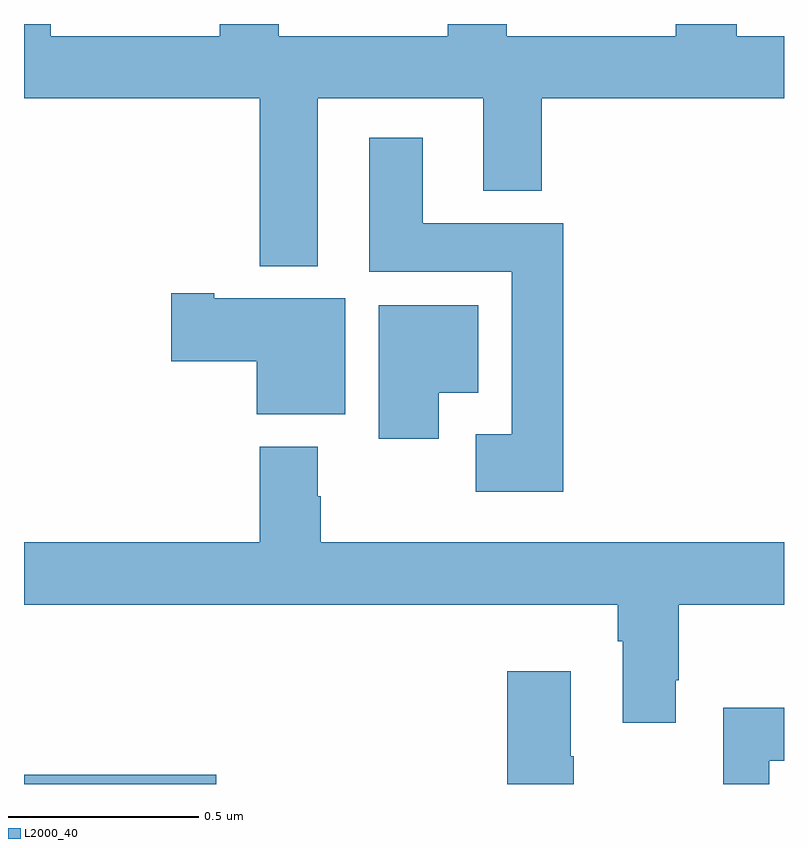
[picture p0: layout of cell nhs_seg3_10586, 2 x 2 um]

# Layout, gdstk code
import gdstk
lib = gdstk.Library(unit=1e-6, precision=1e-09)
def R(c, l, rs):  # rectangles x0, y0, x1, y1
    for r in rs: c.add(gdstk.rectangle(r[:2], r[2:], *l))
def P(c, l, *ps):  # polygons
    for p in ps: c.add(gdstk.Polygon(p, *l))
L2000_40 = (2000, 40)

nhs_seg3_10586 = lib.new_cell('nhs_seg3_10586')
R(nhs_seg3_10586, L2000_40, [(242,744.4,242.506,744.424)])
P(nhs_seg3_10586, L2000_40, [(242.773,746.204),(243.209,746.204),(243.209,745.961),(243.362,745.961),(243.362,746.204),(244,746.204),(244,746.368),(243.875,746.368),(243.875,746.4),(243.715,746.4),(243.715,746.368),(243.27,746.368),(243.27,746.4),(243.115,746.4),(243.115,746.368),(242.67,746.368),(242.67,746.4),(242.515,746.4),(242.515,746.368),(242.07,746.368),(242.07,746.4),(242,746.4),(242,746.204),(242.621,746.204),(242.621,745.763),(242.773,745.763)],
  [(243.419,745.876),(243.049,745.876),(243.049,746.101),(242.909,746.101),(242.909,745.748),(243.284,745.748),(243.284,745.321),(243.189,745.321),(243.189,745.169),(243.419,745.169)],
  [(242.845,745.678),(242.5,745.678),(242.5,745.691),(242.388,745.691),(242.388,745.513),(242.612,745.513),(242.612,745.373),(242.845,745.373)],
  [(243.091,745.43),(243.196,745.43),(243.196,745.66),(242.933,745.66),(242.933,745.308),(243.091,745.308)],
  [(243.715,744.673),(243.723,744.673),(243.723,744.872),(244,744.872),(244,745.036),(242.781,745.036),(242.781,745.157),(242.773,745.157),(242.773,745.288),(242.621,745.288),(242.621,745.036),(242,745.036),(242,744.872),(243.563,744.872),(243.563,744.776),(243.575,744.776),(243.575,744.561),(243.715,744.561)],
  [(243.447,744.473),(243.439,744.473),(243.439,744.697),(243.272,744.697),(243.272,744.4),(243.447,744.4)],
  [(243.961,744.461),(244,744.461),(244,744.601),(243.84,744.601),(243.84,744.4),(243.961,744.4)])

lib.write_gds('nhs_seg3_10586.gds')
